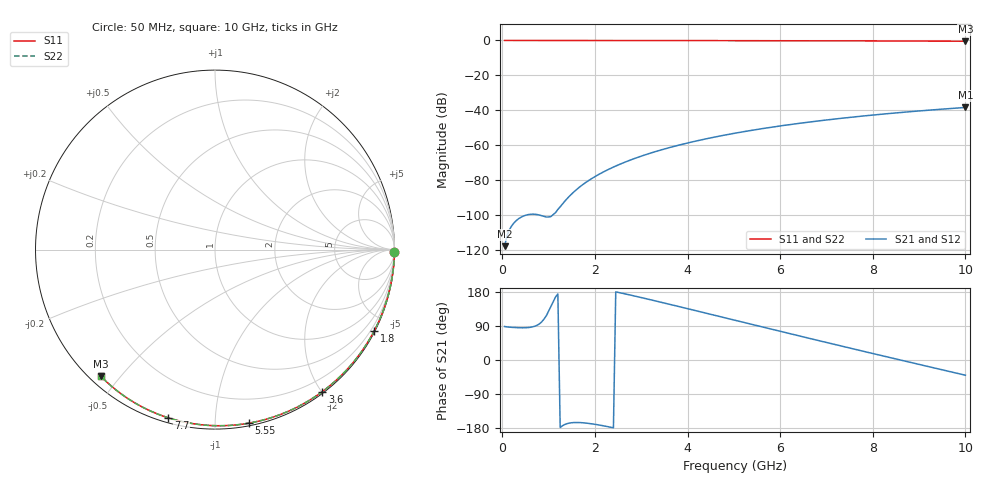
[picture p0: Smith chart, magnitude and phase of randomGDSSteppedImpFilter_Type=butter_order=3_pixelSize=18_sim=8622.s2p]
! freq	dB(S11)	phase(S11)	dB(S12)	phase(S12)
!  dB(S21)	phase(S21)	dB(S22)	phase(S22)
!S-par simulation data
#  GHz  S  DB  R 50
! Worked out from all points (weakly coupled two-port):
!   200 points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, 50 MHz to 10 GHz, reference 50 ohm
!   highest |S21| = -38.39 dB at 10 GHz (marker M1); lowest = -117.9 dB at 50 MHz (marker M2)
!   lowest |S11| = -0.4 dB at 10 GHz (marker M3), VSWR 38.89, Z = 1.54 - j22.2 ohm
!   |S11| at or under -10 dB: nowhere
!   |S22| runs from -0.4 to 0.0 dB; largest |S21 - S12| = 0
!   S11 on the Smith chart (normalised r, x): 50 MHz: open; 1.8 GHz: 0.04, -4.16; 3.6 GHz: 0.02, -2.01; 5.55 GHz: 0.02, -1.21; 7.7 GHz: 0.02, -0.76; 10 GHz: 0.03, -0.44
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0.05  -0.00 -0.8  -117.86 88.3  -117.86 88.3  -0.00 -0.8
0.9  -0.02 -13.7  -100.84 107.9  -100.84 107.9  -0.02 -13.7
1.75  -0.03 -26.3  -82.36 -165.8  -82.36 -165.8  -0.03 -26.3
1.8  -0.03 -27.1  -81.41 -166.3  -81.41 -166.3  -0.03 -27.1
1.85  -0.04 -27.8  -80.51 -167.1  -80.51 -167.1  -0.04 -27.8
1.9  -0.04 -28.5  -79.65 -167.9  -79.65 -167.9  -0.04 -28.5
2.05  -0.04 -30.7  -77.25 -170.7  -77.25 -170.7  -0.04 -30.7
2.25  -0.04 -33.7  -74.43 -175.2  -74.43 -175.2  -0.04 -33.7
2.45  -0.05 -36.6  -71.94 179.8  -71.94 179.8  -0.05 -36.6
2.65  -0.05 -39.5  -69.71 174.5  -69.71 174.5  -0.05 -39.5
3  -0.06 -44.5  -66.29 164.8  -66.29 164.8  -0.06 -44.5
3.4  -0.07 -50.1  -62.94 153.2  -62.94 153.2  -0.07 -50.1
3.6  -0.07 -52.9  -61.45 147.4  -61.45 147.4  -0.07 -52.9
4.3  -0.09 -62.5  -56.94 126.6  -56.94 126.6  -0.09 -62.5
5.05  -0.11 -72.5  -53.01 104.1  -53.01 104.1  -0.11 -72.5
5.55  -0.13 -79.0  -50.78 89.2  -50.78 89.2  -0.13 -79.0
6.1  -0.15 -86.0  -48.61 72.8  -48.61 72.8  -0.15 -86.0
6.7  -0.18 -93.5  -46.51 55.1  -46.51 55.1  -0.18 -93.5
7.7  -0.24 -105.5  -43.53 25.8  -43.53 25.8  -0.24 -105.5
8.35  -0.29 -113.2  -41.87 7.0  -41.87 7.0  -0.29 -113.2
9.15  -0.36 -122.4  -40.06 -15.9  -40.06 -15.9  -0.36 -122.4
10  -0.45 -132.1  -38.39 -40.2  -38.39 -40.2  -0.45 -132.1
